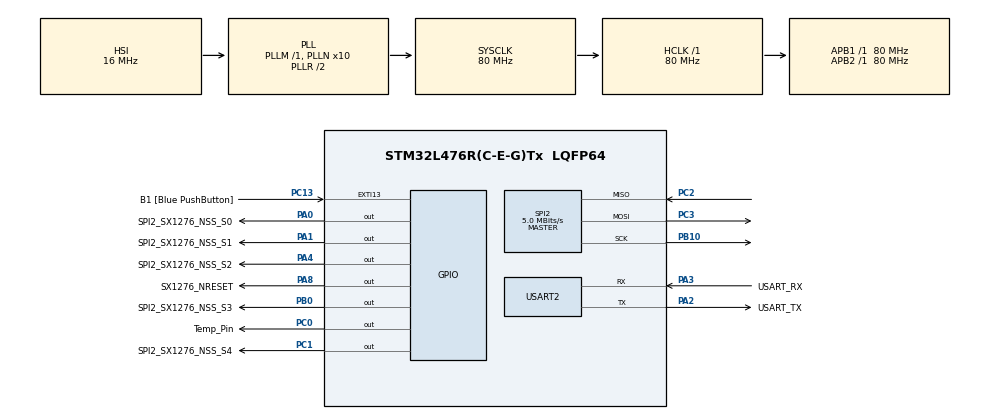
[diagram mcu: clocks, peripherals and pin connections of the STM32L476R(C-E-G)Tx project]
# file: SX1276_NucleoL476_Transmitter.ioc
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Mcu.Family=STM32L4
Mcu.Name=STM32L476R(C-E-G)Tx
Mcu.Package=LQFP64
NVIC.EXTI15_10_IRQn=true\:0\:0\:false\:false\:true\:true\:true\:true
NVIC.PriorityGroup=NVIC_PRIORITYGROUP_4
NVIC.RTC_WKUP_IRQn=true\:0\:0\:false\:false\:true\:true\:true\:true
PA0.GPIO_Label=SPI2_SX1276_NSS_S0
PA0.PinState=GPIO_PIN_SET
PA0.Signal=GPIO_Output
PA1.GPIO_Label=SPI2_SX1276_NSS_S1
PA1.Signal=GPIO_Output
PA13\ (JTMS-SWDIO).GPIO_Label=TMS
PA13\ (JTMS-SWDIO).Mode=Trace_Asynchronous_SW
PA13\ (JTMS-SWDIO).Signal=SYS_JTMS-SWDIO
PA14\ (JTCK-SWCLK).GPIO_Label=TCK
PA14\ (JTCK-SWCLK).Mode=Trace_Asynchronous_SW
PA14\ (JTCK-SWCLK).Signal=SYS_JTCK-SWCLK
PA2.GPIO_Label=USART_TX
PA2.GPIO_Mode=GPIO_MODE_AF_PP
PA2.GPIO_PuPd=GPIO_NOPULL
PA2.GPIO_Speed=GPIO_SPEED_FREQ_VERY_HIGH
PA2.Mode=Asynchronous
PA2.Signal=USART2_TX
PA3.GPIO_Label=USART_RX
PA3.GPIO_Mode=GPIO_MODE_AF_PP
PA3.GPIO_PuPd=GPIO_NOPULL
PA3.GPIO_Speed=GPIO_SPEED_FREQ_VERY_HIGH
PA3.Mode=Asynchronous
PA3.Signal=USART2_RX
PA4.GPIO_Label=SPI2_SX1276_NSS_S2
PA4.Signal=GPIO_Output
PA8.GPIO_Label=SX1276_NRESET
PA8.GPIO_ModeDefaultOutputPP=GPIO_MODE_OUTPUT_OD
PA8.GPIO_PuPd=GPIO_NOPULL
PA8.PinState=GPIO_PIN_SET
PA8.Signal=GPIO_Output
PB0.GPIO_Label=SPI2_SX1276_NSS_S3
PB0.Signal=GPIO_Output
PB10.Mode=Full_Duplex_Master
PB10.Signal=SPI2_SCK
PB3\ (JTDO-TRACESWO).GPIO_Label=SWO
PB3\ (JTDO-TRACESWO).Mode=Trace_Asynchronous_SW
PB3\ (JTDO-TRACESWO).Signal=SYS_JTDO-SWO
PC0.GPIO_Label=Temp_Pin
PC0.Signal=GPIO_Output
PC1.GPIO_Label=SPI2_SX1276_NSS_S4
PC1.Signal=GPIO_Output
PC13.GPIO_Label=B1 [Blue PushButton]
PC13.GPIO_ModeDefaultEXTI=GPIO_MODE_IT_FALLING
PC13.GPIO_PuPd=GPIO_NOPULL
PC13.Signal=GPXTI13
PC14-OSC32_IN\ (PC14).Signal=RCC_OSC32_IN
PC15-OSC32_OUT\ (PC15).Signal=RCC_OSC32_OUT
PC2.GPIO_PuPd=GPIO_NOPULL
PC2.Mode=Full_Duplex_Master
PC2.Signal=SPI2_MISO
PC3.GPIO_PuPd=GPIO_NOPULL
PC3.Mode=Full_Duplex_Master
PC3.Signal=SPI2_MOSI
PH0-OSC_IN\ (PH0).Signal=RCC_OSC_IN
PH1-OSC_OUT\ (PH1).Signal=RCC_OSC_OUT
ProjectManager.HeapSize=0x200
ProjectManager.StackSize=0x400
ProjectManager.TargetToolchain=STM32CubeIDE
RCC.ADCFreq_Value=64000000
RCC.AHBFreq_Value=80000000
RCC.APB1Freq_Value=80000000
RCC.APB1TimFreq_Value=80000000
RCC.APB2Freq_Value=80000000
RCC.APB2TimFreq_Value=80000000
RCC.CortexFreq_Value=80000000
RCC.HCLKFreq_Value=80000000
RCC.HSE_VALUE=8000000
RCC.HSI_VALUE=16000000
RCC.LSE_VALUE=32768
RCC.MSIClockRange=RCC_MSIRANGE_11
RCC.MSI_VALUE=48000000
RCC.PLLN=10
RCC.PLLSourceVirtual=RCC_PLLSOURCE_HSI
RCC.PREFETCH_ENABLE=1
RCC.SYSCLKFreq_VALUE=80000000
RCC.SYSCLKSource=RCC_SYSCLKSOURCE_PLLCLK
RCC.USART2CLockSelection=RCC_USART2CLKSOURCE_HSI
RCC.USBFreq_Value=64000000
RCC.VCOOutputFreq_Value=160000000
RTC.WakeUpClock-WakeUp=RTC_WAKEUPCLOCK_RTCCLK_DIV16
RTC.WakeUpCounter-WakeUp=1
SPI2.BaudRatePrescaler=SPI_BAUDRATEPRESCALER_16
SPI2.CalculateBaudRate=5.0 MBits/s
SPI2.DataSize=SPI_DATASIZE_8BIT
SPI2.Direction=SPI_DIRECTION_2LINES
SPI2.Mode=SPI_MODE_MASTER
SPI2.VirtualType=VM_MASTER
TIM16.Prescaler=4000
USART2.VirtualMode-Asynchronous=VM_ASYNC
VP_RTC_VS_RTC_Activate.Mode=RTC_Enabled
VP_RTC_VS_RTC_WakeUp_intern.Mode=WakeUp
VP_TIM16_VS_ClockSourceINT.Mode=Enable_Timer
board=NUCLEO-L476RG

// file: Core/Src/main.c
/* USER CODE BEGIN Header */
/**
 ******************************************************************************
 * @file           : main.c
 * @brief          : Main program body
 ******************************************************************************
 * @attention
 *
 * Copyright (c) 2025 STMicroelectronics.
 * All rights reserved.
 *
 * This software is licensed under terms that can be found in the LICENSE file
 * in the root directory of this software component.
 * If no LICENSE file comes with this software, it is provided AS-IS.
 *
 ******************************************************************************
 */
/* USER CODE END Header */
#include "main.h"

/* USER CODE BEGIN Includes */
#include "string.h"
#include "stdio.h"
#include "stm32_SX1276_spi.h"
/* USER CODE END Includes */

/* USER CODE BEGIN PD */
# define NUMBER_OF_LORA_NODES			0x05
# define HOP_OVERHEAD_MS				0x06

/* USER CODE END PD */

RTC_HandleTypeDef hrtc;

SPI_HandleTypeDef hspi2;

TIM_HandleTypeDef htim16;

UART_HandleTypeDef huart2;

void SystemClock_Config(void);
static void MX_GPIO_Init(void);
static void MX_USART2_UART_Init(void);
static void MX_SPI2_Init(void);
static void MX_TIM16_Init(void);
static void MX_RTC_Init(void);

/* USER CODE BEGIN 0 */
uint32_t TIM16_PRESCALR=0;
/* USER CODE END 0 */

int main(void)
{

	/* USER CODE BEGIN 1 */
	uint8_t buff[1000]={0};
	/* USER CODE END 1 */

	/* MCU Configuration--------------------------------------------------------*/

	/* Reset of all peripherals, Initializes the Flash interface and the Systick. */
	HAL_Init();

	/* Configure the system clock */
	SystemClock_Config();

	/* Initialize all configured peripherals */
	MX_GPIO_Init();
	MX_USART2_UART_Init();
	MX_SPI2_Init();
	MX_TIM16_Init();
	MX_RTC_Init();
	/* USER CODE BEGIN 2 */

	SPI_SX1276_TypeDef test, test1, test2, test3, test4;
	SX1276_Init_Param init, init1, init2, init3, init4;

	if(NUMBER_OF_LORA_NODES >=1)
	{
		test.NSS_GPIOx = SPI2_SX1276_NSS_S0_GPIO_Port;
		test.NSS_GPIO_Pin = SPI2_SX1276_NSS_S0_Pin;
		test.hspi = &hspi2;
		test.hrtc_l = &hrtc;

		init.NRESET_GPIOx = SX1276_NRESET_GPIO_Port;
		init.NRESET_GPIO_Pin = SX1276_NRESET_Pin;
		init.SPI_SX1276 = test;
		init.hrtc_l = &hrtc;
	}

	if(NUMBER_OF_LORA_NODES >=2)
	{
		test1.NSS_GPIOx = SPI2_SX1276_NSS_S1_GPIO_Port;
		test1.NSS_GPIO_Pin = SPI2_SX1276_NSS_S1_Pin;
		test1.hspi = &hspi2;
		test1.hrtc_l = &hrtc;

		init1.NRESET_GPIOx = SX1276_NRESET_GPIO_Port;
		init1.NRESET_GPIO_Pin = SX1276_NRESET_Pin;
		init1.SPI_SX1276 = test1;
		init1.hrtc_l = &hrtc;
	}

	if(NUMBER_OF_LORA_NODES >=3)
	{
		test2.NSS_GPIOx = SPI2_SX1276_NSS_S2_GPIO_Port;
		test2.NSS_GPIO_Pin = SPI2_SX1276_NSS_S2_Pin;
		test2.hspi = &hspi2;
		test2.hrtc_l = &hrtc;

		init2.NRESET_GPIOx = SX1276_NRESET_GPIO_Port;
		init2.NRESET_GPIO_Pin = SX1276_NRESET_Pin;
		init2.SPI_SX1276 = test2;
		init2.hrtc_l = &hrtc;
	}

	if(NUMBER_OF_LORA_NODES >=4)
	{
		test3.NSS_GPIOx = SPI2_SX1276_NSS_S3_GPIO_Port;
		test3.NSS_GPIO_Pin = SPI2_SX1276_NSS_S3_Pin;
		test3.hspi = &hspi2;
		test3.hrtc_l = &hrtc;

		init3.NRESET_GPIOx = SX1276_NRESET_GPIO_Port;
		init3.NRESET_GPIO_Pin = SX1276_NRESET_Pin;
		init3.SPI_SX1276 = test3;
		init3.hrtc_l = &hrtc;
	}

	if(NUMBER_OF_LORA_NODES >=5)
	{
		test4.NSS_GPIOx = SPI2_SX1276_NSS_S4_GPIO_Port;
		test4.NSS_GPIO_Pin = SPI2_SX1276_NSS_S4_Pin;
		test4.hspi = &hspi2;
		test4.hrtc_l = &hrtc;

		init4.NRESET_GPIOx = SX1276_NRESET_GPIO_Port;
		init4.NRESET_GPIO_Pin = SX1276_NRESET_Pin;
		init4.SPI_SX1276 = test4;
		init4.hrtc_l = &hrtc;
	}

	//---------------------------------------------
	SX1276_CommParam CommParam;
	CommParam.Bandwidth = SX1276_LoRa_REG_MODEM_CONFIG1_BW_125_kHz;
	CommParam.CodingRate= SX1276_LoRa_REG_MODEM_CONFIG1_CR_4_5;
	CommParam.Spreadfactor = SX1276_LoRa_REG_MODEM_CONFIG2_SF7;
	CommParam.PreambleLength = 8;

	sprintf((char *)buff, "SX1276 Init \r\n");
	HAL_UART_Transmit(&huart2, buff, sizeof(buff), 100);

	uint8_t buffLoRa[255]={0};
	uint8_t buffLoRaR[255]={0};
	sprintf((char *)buffLoRa, " 0000000000111111111122222222223333333333444444444455555555556666666666777777777788888888889999999999.0000000000111111111122222222223333333333444444444455555555556666666666777777777788888888889999999999.abcdefghijklmnopqabcdefghijklmnopq");
	buffLoRa[0] = 0;
	uint8_t count=0;

	uint8_t PacketSize_bytes=240;
	uint8_t PacketSize_bytesR=0;

	buffLoRa[1] = count;

	uint8_t AvailableLoRaNodes=0xFF;

	uint32_t ToA_Delay_ms = ComputeToA(CommParam, PacketSize_bytes);

	/****************************************************
	 * Init Code
	 ****************************************************/
	// Node 0-----------------------------------------------------
	if(NUMBER_OF_LORA_NODES >=1)
	{
		if(SX1276_Init(init)!=SX1276_OK)
		{
			AvailableLoRaNodes &= 0b11111110;
			sprintf((char *)buff, "SX1276 Init 0: FAIL \r\n");
			HAL_UART_Transmit(&huart2, buff, sizeof(buff), 100);
		}
		else
		{
			sprintf((char *)buff, "SX1276 Init 0: OK \r\n");
			HAL_UART_Transmit(&huart2, buff, sizeof(buff), 100);
		}

	}

	// Node 1-----------------------------------------------------
	if(NUMBER_OF_LORA_NODES >=2)
	{
		if(SX1276_Init(init1)!=SX1276_OK)
		{
			AvailableLoRaNodes &= 0b11111101;
			sprintf((char *)buff, "SX1276 Init 1: FAIL \r\n");
			HAL_UART_Transmit(&huart2, buff, sizeof(buff), 100);
		}
		else
		{
			sprintf((char *)buff, "SX1276 Init 1: OK \r\n");
			HAL_UART_Transmit(&huart2, buff, sizeof(buff), 100);
		}

	}

	// Node 2-----------------------------------------------------
	if(NUMBER_OF_LORA_NODES >=3)
	{
		if(SX1276_Init(init2)!=SX1276_OK)
		{
			AvailableLoRaNodes &= 0b11111011;
			sprintf((char *)buff, "SX1276 Init 2: FAIL \r\n");
			HAL_UART_Transmit(&huart2, buff, sizeof(buff), 100);
		}
		else
		{
			sprintf((char *)buff, "SX1276 Init 2: OK \r\n");
			HAL_UART_Transmit(&huart2, buff, sizeof(buff), 100);
		}

	}

	// Node 3-----------------------------------------------------
	if(NUMBER_OF_LORA_NODES >=4)
	{
		if(SX1276_Init(init3)!=SX1276_OK)
		{
			AvailableLoRaNodes &= 0b11110111;
			sprintf((char *)buff, "SX1276 Init 3: FAIL \r\n");
			HAL_UART_Transmit(&huart2, buff, sizeof(buff), 100);
		}
		else
		{
			sprintf((char *)buff, "SX1276 Init 3: OK \r\n");
			HAL_UART_Transmit(&huart2, buff, sizeof(buff), 100);
		}

	}

	// Node 4-----------------------------------------------------
	if(NUMBER_OF_LORA_NODES >=5)
	{
		if(SX1276_Init(init4)!=SX1276_OK)
		{
			AvailableLoRaNodes &= 0b11101111;
			sprintf((char *)buff, "SX1276 Init 4: FAIL \r\n");
			HAL_UART_Transmit(&huart2, buff, sizeof(buff), 100);
		}
		else
		{
			sprintf((char *)buff, "SX1276 Init 4: OK \r\n");
			HAL_UART_Transmit(&huart2, buff, sizeof(buff), 100);
		}

	}

	HAL_GPIO_WritePin(SX1276_NRESET_GPIO_Port, SX1276_NRESET_Pin, GPIO_PIN_RESET);
	HAL_Delay(100);
	HAL_GPIO_WritePin(SX1276_NRESET_GPIO_Port, SX1276_NRESET_Pin, GPIO_PIN_SET);
	HAL_Delay(100);

	/****************************************************
	 * Dummy Transmit
	 ***************************************************/

	// Check Number of LoRa Nodes set and if the node is available
	if( (NUMBER_OF_LORA_NODES >=1) && (AvailableLoRaNodes && 0b00000001) )
	{
		sprintf((char *)buff, "SX1276 Dummy Node 0 Transmit : %u\r\n", SX1276_Transmit(test, buffLoRa, PacketSize_bytes, 906000, SX1276_LoRa_PA_CONFIG_OP_POWER_dBm_17, NORMAL_MODE_MCU_STOP_MODE, CommParam));
		HAL_UART_Transmit(&huart2, buff, sizeof(buff), 100);
	}

	if( (NUMBER_OF_LORA_NODES >=2) && ((AvailableLoRaNodes>>1) && 0b00000001) )
	{
		sprintf((char *)buff, "SX1276 Dummy Node 1 Transmit : %u\r\n", SX1276_Transmit(test1, buffLoRa, PacketSize_bytes, 906000, SX1276_LoRa_PA_CONFIG_OP_POWER_dBm_17, NORMAL_MODE_MCU_STOP_MODE, CommParam));
		HAL_UART_Transmit(&huart2, buff, sizeof(buff), 100);
	}

	if( (NUMBER_OF_LORA_NODES >=3) && ((AvailableLoRaNodes>>2) && 0b00000001) )
	{
		sprintf((char *)buff, "SX1276 Dummy Node 2 Transmit : %u\r\n", SX1276_Transmit(test2, buffLoRa, PacketSize_bytes, 906000, SX1276_LoRa_PA_CONFIG_OP_POWER_dBm_17, NORMAL_MODE_MCU_STOP_MODE, CommParam));
		HAL_UART_Transmit(&huart2, buff, sizeof(buff), 100);
	}

	if( (NUMBER_OF_LORA_NODES >=4) && ((AvailableLoRaNodes>>3) && 0b00000001) )
	{
		sprintf((char *)buff, "SX1276 Dummy Node 3 Transmit : %u\r\n", SX1276_Transmit(test3, buffLoRa, PacketSize_bytes, 906000, SX1276_LoRa_PA_CONFIG_OP_POWER_dBm_17, NORMAL_MODE_MCU_STOP_MODE, CommParam));
		HAL_UART_Transmit(&huart2, buff, sizeof(buff), 100);
	}

	if( (NUMBER_OF_LORA_NODES >=5) && ((AvailableLoRaNodes>>4) && 0b00000001) )
	{
		sprintf((char *)buff, "SX1276 Dummy Node 4 Transmit : %u\r\n", SX1276_Transmit(test4, buffLoRa, PacketSize_bytes, 906000, SX1276_LoRa_PA_CONFIG_OP_POWER_dBm_17, NORMAL_MODE_MCU_STOP_MODE, CommParam));
		HAL_UART_Transmit(&huart2, buff, sizeof(buff), 100);
	}

	/*****************************************************************************************************
	 * Run Sync Schedule
	 * 	-	Set seperately from dummy code so that the dummy code can commented out easily.
	 *	-	The node availability check logic shall be the same.
	 *****************************************************************************************************/

	uint32_t LoRaFrequnecy_KHz = 915000;
	float RxConfigTime=0;
	float ReceivePropDelayTime=0;

	float RxConfigTimeTotal=0;
	float ReceivePropDelayTimeTotal=0;		// this includes  ConfigTxTime (~1ms) + 100 ms + Buffer read  (~1 ms)

	if( (NUMBER_OF_LORA_NODES >=1) && (AvailableLoRaNodes & 0b00000001) )
	{

		if(SX1276_Transmitter_RunSyncSchedule(test, buffLoRa, buffLoRaR, PacketSize_bytes, &PacketSize_bytesR, LoRaFrequnecy_KHz, SX1276_LoRa_PA_CONFIG_OP_POWER_dBm_17, &RxConfigTime, &ReceivePropDelayTime, CommParam, &htim16, TIM16_PRESCALR)!=SX1276_OK)
		{
			strcpy((char *)buff, "Run Sync Node 0; 1; failed");
			HAL_UART_Transmit(&huart2, buff, sizeof(buff), 100);
		}

		RxConfigTimeTotal 			+= RxConfigTime;
		ReceivePropDelayTimeTotal	+= ReceivePropDelayTime;

		RxConfigTime				=	0;
		ReceivePropDelayTime		=	0;

		if(SX1276_Transmitter_RunSyncSchedule(test, buffLoRa, buffLoRaR, PacketSize_bytes, &PacketSize_bytesR, LoRaFrequnecy_KHz, SX1276_LoRa_PA_CONFIG_OP_POWER_dBm_17, &RxConfigTime, &ReceivePropDelayTime, CommParam, &htim16, TIM16_PRESCALR)!=SX1276_OK)
		{
			strcpy((char *)buff, "Run Sync Node 0; 2; failed");
			HAL_UART_Transmit(&huart2, buff, sizeof(buff), 100);
		}

		RxConfigTimeTotal 			+= RxConfigTime;
		ReceivePropDelayTimeTotal	+= ReceivePropDelayTime;

		RxConfigTime				=	0;
		ReceivePropDelayTime		=	0;

		if(SX1276_Transmitter_RunSyncSchedule(test, buffLoRa, buffLoRaR, PacketSize_bytes, &PacketSize_bytesR, LoRaFrequnecy_KHz, SX1276_LoRa_PA_CONFIG_OP_POWER_dBm_17, &RxConfigTime, &ReceivePropDelayTime, CommParam, &htim16, TIM16_PRESCALR)!=SX1276_OK)
		{
			strcpy((char *)buff, "Run Sync Node 0; 3; failed");
			HAL_UART_Transmit(&huart2, buff, sizeof(buff), 100);
		}

		RxConfigTimeTotal 			+= RxConfigTime;
		ReceivePropDelayTimeTotal	+= ReceivePropDelayTime;

		RxConfigTime				=	0;
		ReceivePropDelayTime		=	0;

		if(SX1276_Transmitter_RunSyncSchedule(test, buffLoRa, buffLoRaR, PacketSize_bytes, &PacketSize_bytesR, LoRaFrequnecy_KHz, SX1276_LoRa_PA_CONFIG_OP_POWER_dBm_17, &RxConfigTime, &ReceivePropDelayTime, CommParam, &htim16, TIM16_PRESCALR)!=SX1276_OK)
		{
			strcpy((char *)buff, "Run Sync Node 0; 4; failed");
			HAL_UART_Transmit(&huart2, buff, sizeof(buff), 100);
		}

		RxConfigTimeTotal 			+= RxConfigTime;
		ReceivePropDelayTimeTotal	+= ReceivePropDelayTime;

		RxConfigTime				=	0;
		ReceivePropDelayTime		=	0;

		RxConfigTimeTotal			= RxConfigTimeTotal/4;
		ReceivePropDelayTimeTotal	= ReceivePropDelayTimeTotal/4;

		if(((uint32_t)RxConfigTimeTotal)<RxConfigTimeTotal)
		{
			RxConfigTimeTotal++;
		}

		if(((uint32_t)ReceivePropDelayTimeTotal)<ReceivePropDelayTimeTotal)
		{
			ReceivePropDelayTimeTotal++;
		}

		ReceivePropDelayTimeTotal = ReceivePropDelayTimeTotal -102 - ToA_Delay_ms;

		sprintf((char *)buff, "SX1276 Node 0 Sync Schedule RxConfigTime, ReceivePropDelayTime: %f, %f\r\n", RxConfigTimeTotal, ReceivePropDelayTimeTotal);
		HAL_UART_Transmit(&huart2, buff, sizeof(buff), 100);
	}

	uint32_t  HoppFrequencyMultiplier = 250;	//relates to displacement of signal in Hz; Shall be fixed on the basis of bandwidth and spread factor
	uint8_t Status = 0;

	uint32_t NumberOfHopps = 117;
	uint32_t FirstFrequencies[NumberOfHopps] = {};

	FirstFrequencies[0] = 902500;

	for (uint32_t counter = 1; counter<NumberOfHopps-1; counter=counter+2)
	{
		if( (counter>1) && ((FirstFrequencies[counter-1] + (HoppFrequencyMultiplier*NUMBER_OF_LORA_NODES))>= 928000))
		{
			// The next freq is out of ISM band, USA => 902 to 928MHz; wrap freq
			FirstFrequencies[counter] = FirstFrequencies[0];
			counter++;
		}
		FirstFrequencies[counter] = FirstFrequencies[counter-1] + HoppFrequencyMultiplier/2;
		FirstFrequencies[counter+1] = FirstFrequencies[counter-1] + (HoppFrequencyMultiplier*NUMBER_OF_LORA_NODES);
	}

	uint32_t temp=0;
	for (uint32_t counter = 0; counter<NumberOfHopps; counter++)
	{

		if((counter>0) && (FirstFrequencies[counter]==FirstFrequencies[0]))
		{
		    // How long ago did we use the FirstFrequencies[0]
		    if (temp == 0)
		    {
		        temp = counter;
		    }

		    if ((temp * (ToA_Delay_ms + HOP_OVERHEAD_MS)) < 20000)
		    {
		        // Put MCU to Sleep until FCC dwell-time requirement is met
		        MCU_STOP_Delay_ms(20000 - (temp * (ToA_Delay_ms + HOP_OVERHEAD_MS)), &hrtc);
		    }

		}

		/**************************************************
		 * Wait for RxConfigTime
		 **************************************************/
		MCU_STOP_Delay_ms(RxConfigTimeTotal * NUMBER_OF_LORA_NODES, &hrtc);

		/***************************************************************************************************
		 * Set Transmit Config
		 *	-	Set seperately from dummy code so that the dummy code can commented out easily.
		 *	-	Setup config for all nodes.
		 *	-	The node availability check logic shall be the same.
		 ***************************************************************************************************
		 */

		if( (NUMBER_OF_LORA_NODES >=1) && (AvailableLoRaNodes & 0b00000001) )
		{
			Status = SX1276_Multi_Transmitter_SetConfiguration(test, buffLoRa, PacketSize_bytes, FirstFrequencies[counter]+HoppFrequencyMultiplier*0, SX1276_LoRa_PA_CONFIG_OP_POWER_dBm_17, CommParam);
		}

		if( (NUMBER_OF_LORA_NODES >=2) && ((AvailableLoRaNodes>>1) & 0b00000001) )
		{
			Status = SX1276_Multi_Transmitter_SetConfiguration(test1, buffLoRa, PacketSize_bytes, FirstFrequencies[counter]+HoppFrequencyMultiplier*1, SX1276_LoRa_PA_CONFIG_OP_POWER_dBm_17, CommParam);
		}

		if( (NUMBER_OF_LORA_NODES >=3) && ((AvailableLoRaNodes>>2) & 0b00000001) )
		{
			Status = SX1276_Multi_Transmitter_SetConfiguration(test2, buffLoRa, PacketSize_bytes, FirstFrequencies[counter]+HoppFrequencyMultiplier*2, SX1276_LoRa_PA_CONFIG_OP_POWER_dBm_17, CommParam);
		}

		if( (NUMBER_OF_LORA_NODES >=4) && ((AvailableLoRaNodes>>3) & 0b00000001) )
		{
			Status = SX1276_Multi_Transmitter_SetConfiguration(test3, buffLoRa, PacketSize_bytes, FirstFrequencies[counter]+HoppFrequencyMultiplier*3, SX1276_LoRa_PA_CONFIG_OP_POWER_dBm_17, CommParam);
		}

		if( (NUMBER_OF_LORA_NODES >=5) && ((AvailableLoRaNodes>>4) & 0b00000001) )
		{
			Status = SX1276_Multi_Transmitter_SetConfiguration(test4, buffLoRa, PacketSize_bytes, FirstFrequencies[counter]+HoppFrequencyMultiplier*4, SX1276_LoRa_PA_CONFIG_OP_POWER_dBm_17, CommParam);
		}

		/***************************************************************************************************
		 * Transmit
		 *	-	Set OP mode for all Nodes
		 *	-	Put MCU to STOP2 mode for ToA time
		 *	-	Clear TxDone IRQ flag for all Nodes
		 *	-	Set all Nodes to sleep
		 ***************************************************************************************************/
		if( (NUMBER_OF_LORA_NODES >=1) && (AvailableLoRaNodes & 0b00000001) )
		{
			Status = SX1276_SetOperationMode(test, SX1276_LoRa_REG_OP_MODE_TX);
		}

		if( (NUMBER_OF_LORA_NODES >=2) && ((AvailableLoRaNodes>>1) & 0b00000001) )
		{
			Status = SX1276_SetOperationMode(test1, SX1276_LoRa_REG_OP_MODE_TX);
		}

		if( (NUMBER_OF_LORA_NODES >=3) && ((AvailableLoRaNodes>>2) & 0b00000001) )
		{
			Status = SX1276_SetOperationMode(test2, SX1276_LoRa_REG_OP_MODE_TX);
		}

		if( (NUMBER_OF_LORA_NODES >=4) && ((AvailableLoRaNodes>>3) & 0b00000001) )
		{
			Status = SX1276_SetOperationMode(test3, SX1276_LoRa_REG_OP_MODE_TX);;
		}

		if( (NUMBER_OF_LORA_NODES >=5) && ((AvailableLoRaNodes>>4) & 0b00000001) )
		{
			Status = SX1276_SetOperationMode(test4, SX1276_LoRa_REG_OP_MODE_TX);
		}

		MCU_STOP_Delay_ms(ToA_Delay_ms, &hrtc);

		if( (NUMBER_OF_LORA_NODES >=1) && (AvailableLoRaNodes & 0b00000001) )
		{
			Status = SX1276_ClearIRQFlags(test, TxDone);
			Status = SX1276_SetOperationMode(test, SX1276_LoRa_REG_OP_MODE_SLEEP);
		}

		if( (NUMBER_OF_LORA_NODES >=2) && ((AvailableLoRaNodes>>1) & 0b00000001) )
		{
			Status = SX1276_ClearIRQFlags(test1, TxDone);
			Status = SX1276_SetOperationMode(test1, SX1276_LoRa_REG_OP_MODE_SLEEP);
		}

		if( (NUMBER_OF_LORA_NODES >=3) && ((AvailableLoRaNodes>>2) & 0b00000001) )
		{
			Status = SX1276_ClearIRQFlags(test2, TxDone);
			Status = SX1276_SetOperationMode(test2, SX1276_LoRa_REG_OP_MODE_SLEEP);
		}

		if( (NUMBER_OF_LORA_NODES >=4) && ((AvailableLoRaNodes>>3) & 0b00000001) )
		{
			Status = SX1276_ClearIRQFlags(test3, TxDone);
			Status = SX1276_SetOperationMode(test3, SX1276_LoRa_REG_OP_MODE_SLEEP);
		}

		if( (NUMBER_OF_LORA_NODES >=5) && ((AvailableLoRaNodes>>4) & 0b00000001) )
		{
			Status = SX1276_ClearIRQFlags(test4, TxDone);
			Status = SX1276_SetOperationMode(test4, SX1276_LoRa_REG_OP_MODE_SLEEP);
		}

		/**************************************************
		 * Wait for ReceivePropDelayTime
		 **************************************************/
		if(ReceivePropDelayTimeTotal!=0)
		{
			MCU_STOP_Delay_ms(ReceivePropDelayTimeTotal, &hrtc);
		}

	}
//
//	//Hopp-------------------------------------------------------------------------------
//	/**************************************************
//	 * Wait for RxConfigTime
//	 **************************************************/
//	HAL_Delay(RxConfigTimeTotal * NUMBER_OF_LORA_NODES);
//
//
//	LoRaFrequnecy_KHz = 905125;
//
//	if( (NUMBER_OF_LORA_NODES >=1) && (AvailableLoRaNodes && 0b00000001) )
//	{
//		Status = SX1276_Multi_Transmitter_SetConfiguration(test, buffLoRa, PacketSize_bytes, LoRaFrequnecy_KHz+HoppFrequencyMultiplier*0, SX1276_LoRa_PA_CONFIG_OP_POWER_dBm_17, CommParam);
//	}
//
//	if( (NUMBER_OF_LORA_NODES >=2) && ((AvailableLoRaNodes>>1) && 0b00000001) )
//	{
//		Status = SX1276_Multi_Transmitter_SetConfiguration(test1, buffLoRa, PacketSize_bytes, LoRaFrequnecy_KHz+HoppFrequencyMultiplier*1, SX1276_LoRa_PA_CONFIG_OP_POWER_dBm_17, CommParam);
//	}
//
//	if( (NUMBER_OF_LORA_NODES >=3) && ((AvailableLoRaNodes>>2) && 0b00000001) )
//	{
//		Status = SX1276_Multi_Transmitter_SetConfiguration(test2, buffLoRa, PacketSize_bytes, LoRaFrequnecy_KHz+HoppFrequencyMultiplier*2, SX1276_LoRa_PA_CONFIG_OP_POWER_dBm_17, CommParam);
//	}
//
//	if( (NUMBER_OF_LORA_NODES >=4) && ((AvailableLoRaNodes>>3) && 0b00000001) )
//	{
//		Status = SX1276_Multi_Transmitter_SetConfiguration(test3, buffLoRa, PacketSize_bytes, LoRaFrequnecy_KHz+HoppFrequencyMultiplier*3, SX1276_LoRa_PA_CONFIG_OP_POWER_dBm_17, CommParam);
//	}
//
//	if( (NUMBER_OF_LORA_NODES >=5) && ((AvailableLoRaNodes>>4) && 0b00000001) )
//	{
//		Status = SX1276_Multi_Transmitter_SetConfiguration(test4, buffLoRa, PacketSize_bytes, LoRaFrequnecy_KHz+HoppFrequencyMultiplier*4, SX1276_LoRa_PA_CONFIG_OP_POWER_dBm_17, CommParam);
//	}
//
//	/***************************************************************************************************
//	 * Transmit
//	 *	-	Set OP mode for all Nodes
//	 *	-	Put MCU to STOP2 mode for ToA time
//	 *	-	Clear TxDone IRQ flag for all Nodes
//	 *	-	Set all Nodes to sleep
//	 ***************************************************************************************************/
//	if( (NUMBER_OF_LORA_NODES >=1) && (AvailableLoRaNodes && 0b00000001) )
//	{
//		Status = SX1276_SetOperationMode(test, SX1276_LoRa_REG_OP_MODE_TX);
//	}
//
//	if( (NUMBER_OF_LORA_NODES >=2) && ((AvailableLoRaNodes>>1) && 0b00000001) )
//	{
//		Status = SX1276_SetOperationMode(test1, SX1276_LoRa_REG_OP_MODE_TX);
//	}
//
//	if( (NUMBER_OF_LORA_NODES >=3) && ((AvailableLoRaNodes>>2) && 0b00000001) )
//	{
//		Status = SX1276_SetOperationMode(test2, SX1276_LoRa_REG_OP_MODE_TX);
//	}
//
//	if( (NUMBER_OF_LORA_NODES >=4) && ((AvailableLoRaNodes>>3) && 0b00000001) )
//	{
//		Status = SX1276_SetOperationMode(test3, SX1276_LoRa_REG_OP_MODE_TX);;
//	}
//
//	if( (NUMBER_OF_LORA_NODES >=5) && ((AvailableLoRaNodes>>4) && 0b00000001) )
//	{
//		Status = SX1276_SetOperationMode(test4, SX1276_LoRa_REG_OP_MODE_TX);
//	}
//
//	MCU_STOP_Delay_ms(ToA_Delay_ms, &hrtc);
//
//	if( (NUMBER_OF_LORA_NODES >=1) && (AvailableLoRaNodes && 0b00000001) )
//	{
//		Status = SX1276_ClearIRQFlags(test, TxDone);
//		Status = SX1276_SetOperationMode(test, SX1276_LoRa_REG_OP_MODE_SLEEP);
//	}
//
//	if( (NUMBER_OF_LORA_NODES >=2) && ((AvailableLoRaNodes>>1) && 0b00000001) )
//	{
//		Status = SX1276_ClearIRQFlags(test1, TxDone);
//		Status = SX1276_SetOperationMode(test1, SX1276_LoRa_REG_OP_MODE_SLEEP);
//	}
//
//	if( (NUMBER_OF_LORA_NODES >=3) && ((AvailableLoRaNodes>>2) && 0b00000001) )
//	{
//		Status = SX1276_ClearIRQFlags(test2, TxDone);
//		Status = SX1276_SetOperationMode(test2, SX1276_LoRa_REG_OP_MODE_SLEEP);
//	}
//
//	if( (NUMBER_OF_LORA_NODES >=4) && ((AvailableLoRaNodes>>3) && 0b00000001) )
//	{
//		Status = SX1276_ClearIRQFlags(test3, TxDone);
//		Status = SX1276_SetOperationMode(test3, SX1276_LoRa_REG_OP_MODE_SLEEP);
//	}
//
//	if( (NUMBER_OF_LORA_NODES >=5) && ((AvailableLoRaNodes>>4) && 0b00000001) )
//	{
//		Status = SX1276_ClearIRQFlags(test4, TxDone);
//		Status = SX1276_SetOperationMode(test4, SX1276_LoRa_REG_OP_MODE_SLEEP);
//	}
//
//	/**************************************************
//	 * Wait for ReceivePropDelayTime
//	 **************************************************/
//	if(ReceivePropDelayTimeTotal!=0)
//	{
//		HAL_Delay(ReceivePropDelayTimeTotal);
//	}
//
//	//Hopp-------------------------------------------------------------------------------
//	/**************************************************
//	 * Wait for RxConfigTime
//	 **************************************************/
//	HAL_Delay(RxConfigTimeTotal * NUMBER_OF_LORA_NODES);
//
//
//	LoRaFrequnecy_KHz = 906250;
//
//	if( (NUMBER_OF_LORA_NODES >=1) && (AvailableLoRaNodes && 0b00000001) )
//	{
//		Status = SX1276_Multi_Transmitter_SetConfiguration(test, buffLoRa, PacketSize_bytes, LoRaFrequnecy_KHz+HoppFrequencyMultiplier*0, SX1276_LoRa_PA_CONFIG_OP_POWER_dBm_17, CommParam);
//	}
//
//	if( (NUMBER_OF_LORA_NODES >=2) && ((AvailableLoRaNodes>>1) && 0b00000001) )
//	{
//		Status = SX1276_Multi_Transmitter_SetConfiguration(test1, buffLoRa, PacketSize_bytes, LoRaFrequnecy_KHz+HoppFrequencyMultiplier*1, SX1276_LoRa_PA_CONFIG_OP_POWER_dBm_17, CommParam);
//	}
//
//	if( (NUMBER_OF_LORA_NODES >=3) && ((AvailableLoRaNodes>>2) && 0b00000001) )
//	{
//		Status = SX1276_Multi_Transmitter_SetConfiguration(test2, buffLoRa, PacketSize_bytes, LoRaFrequnecy_KHz+HoppFrequencyMultiplier*2, SX1276_LoRa_PA_CONFIG_OP_POWER_dBm_17, CommParam);
//	}
//
//	if( (NUMBER_OF_LORA_NODES >=4) && ((AvailableLoRaNodes>>3) && 0b00000001) )
//	{
//		Status = SX1276_Multi_Transmitter_SetConfiguration(test3, buffLoRa, PacketSize_bytes, LoRaFrequnecy_KHz+HoppFrequencyMultiplier*3, SX1276_LoRa_PA_CONFIG_OP_POWER_dBm_17, CommParam);
//	}
//
//	if( (NUMBER_OF_LORA_NODES >=5) && ((AvailableLoRaNodes>>4) && 0b00000001) )
//	{
//		Status = SX1276_Multi_Transmitter_SetConfiguration(test4, buffLoRa, PacketSize_bytes, LoRaFrequnecy_KHz+HoppFrequencyMultiplier*4, SX1276_LoRa_PA_CONFIG_OP_POWER_dBm_17, CommParam);
//	}
//
//	/***************************************************************************************************
//	 * Transmit
//	 *	-	Set OP mode for all Nodes
//	 *	-	Put MCU to STOP2 mode for ToA time
//	 *	-	Clear TxDone IRQ flag for all Nodes
//	 *	-	Set all Nodes to sleep
//	 ***************************************************************************************************/
//	if( (NUMBER_OF_LORA_NODES >=1) && (AvailableLoRaNodes && 0b00000001) )
//	{
//		Status = SX1276_SetOperationMode(test, SX1276_LoRa_REG_OP_MODE_TX);
//	}
//
//	if( (NUMBER_OF_LORA_NODES >=2) && ((AvailableLoRaNodes>>1) && 0b00000001) )
//	{
//		Status = SX1276_SetOperationMode(test1, SX1276_LoRa_REG_OP_MODE_TX);
//	}
//
//	if( (NUMBER_OF_LORA_NODES >=3) && ((AvailableLoRaNodes>>2) && 0b00000001) )
//	{
//		Status = SX1276_SetOperationMode(test2, SX1276_LoRa_REG_OP_MODE_TX);
//	}
//
//	if( (NUMBER_OF_LORA_NODES >=4) && ((AvailableLoRaNodes>>3) && 0b00000001) )
//	{
//		Status = SX1276_SetOperationMode(test3, SX1276_LoRa_REG_OP_MODE_TX);;
//	}
//
//	if( (NUMBER_OF_LORA_NODES >=5) && ((AvailableLoRaNodes>>4) && 0b00000001) )
//	{
//		Status = SX1276_SetOperationMode(test4, SX1276_LoRa_REG_OP_MODE_TX);
//	}
//
//	MCU_STOP_Delay_ms(ToA_Delay_ms, &hrtc);
//
//	if( (NUMBER_OF_LORA_NODES >=1) && (AvailableLoRaNodes && 0b00000001) )
//	{
//		Status = SX1276_ClearIRQFlags(test, TxDone);
//		Status = SX1276_SetOperationMode(test, SX1276_LoRa_REG_OP_MODE_SLEEP);
//	}
//
//	if( (NUMBER_OF_LORA_NODES >=2) && ((AvailableLoRaNodes>>1) && 0b00000001) )
//	{
//		Status = SX1276_ClearIRQFlags(test1, TxDone);
//		Status = SX1276_SetOperationMode(test1, SX1276_LoRa_REG_OP_MODE_SLEEP);
//	}
//
//	if( (NUMBER_OF_LORA_NODES >=3) && ((AvailableLoRaNodes>>2) && 0b00000001) )
//	{
//		Status = SX1276_ClearIRQFlags(test2, TxDone);
//		Status = SX1276_SetOperationMode(test2, SX1276_LoRa_REG_OP_MODE_SLEEP);
//	}
//
//	if( (NUMBER_OF_LORA_NODES >=4) && ((AvailableLoRaNodes>>3) && 0b00000001) )
//	{
//		Status = SX1276_ClearIRQFlags(test3, TxDone);
//		Status = SX1276_SetOperationMode(test3, SX1276_LoRa_REG_OP_MODE_SLEEP);
//	}
//
//	if( (NUMBER_OF_LORA_NODES >=5) && ((AvailableLoRaNodes>>4) && 0b00000001) )
//	{
//		Status = SX1276_ClearIRQFlags(test4, TxDone);
//		Status = SX1276_SetOperationMode(test4, SX1276_LoRa_REG_OP_MODE_SLEEP);
//	}
//
//	/**************************************************
//	 * Wait for ReceivePropDelayTime
//	 **************************************************/
//	if(ReceivePropDelayTimeTotal!=0)
//	{
//		HAL_Delay(ReceivePropDelayTimeTotal);
//	}
//
//	//Hopp-------------------------------------------------------------------------------
//	/**************************************************
//	 * Wait for RxConfigTime
//	 **************************************************/
//	HAL_Delay(RxConfigTimeTotal * NUMBER_OF_LORA_NODES);
//
//
//	LoRaFrequnecy_KHz = 906375;
//
//	if( (NUMBER_OF_LORA_NODES >=1) && (AvailableLoRaNodes && 0b00000001) )
//	{
//		Status = SX1276_Multi_Transmitter_SetConfiguration(test, buffLoRa, PacketSize_bytes, LoRaFrequnecy_KHz+HoppFrequencyMultiplier*0, SX1276_LoRa_PA_CONFIG_OP_POWER_dBm_17, CommParam);
//	}
//
//	if( (NUMBER_OF_LORA_NODES >=2) && ((AvailableLoRaNodes>>1) && 0b00000001) )
//	{
//		Status = SX1276_Multi_Transmitter_SetConfiguration(test1, buffLoRa, PacketSize_bytes, LoRaFrequnecy_KHz+HoppFrequencyMultiplier*1, SX1276_LoRa_PA_CONFIG_OP_POWER_dBm_17, CommParam);
//	}
//
//	if( (NUMBER_OF_LORA_NODES >=3) && ((AvailableLoRaNodes>>2) && 0b00000001) )
//	{
//		Status = SX1276_Multi_Transmitter_SetConfiguration(test2, buffLoRa, PacketSize_bytes, LoRaFrequnecy_KHz+HoppFrequencyMultiplier*2, SX1276_LoRa_PA_CONFIG_OP_POWER_dBm_17, CommParam);
//	}
//
//	if( (NUMBER_OF_LORA_NODES >=4) && ((AvailableLoRaNodes>>3) && 0b00000001) )
//	{
//		Status = SX1276_Multi_Transmitter_SetConfiguration(test3, buffLoRa, PacketSize_bytes, LoRaFrequnecy_KHz+HoppFrequencyMultiplier*3, SX1276_LoRa_PA_CONFIG_OP_POWER_dBm_17, CommParam);
//	}
//
//	if( (NUMBER_OF_LORA_NODES >=5) && ((AvailableLoRaNodes>>4) && 0b00000001) )
//	{
//		Status = SX1276_Multi_Transmitter_SetConfiguration(test4, buffLoRa, PacketSize_bytes, LoRaFrequnecy_KHz+HoppFrequencyMultiplier*4, SX1276_LoRa_PA_CONFIG_OP_POWER_dBm_17, CommParam);
//	}
//
//	/***************************************************************************************************
//	 * Transmit
//	 *	-	Set OP mode for all Nodes
//	 *	-	Put MCU to STOP2 mode for ToA time
//	 *	-	Clear TxDone IRQ flag for all Nodes
//	 *	-	Set all Nodes to sleep
//	 ***************************************************************************************************/
//	if( (NUMBER_OF_LORA_NODES >=1) && (AvailableLoRaNodes && 0b00000001) )
//	{
//		Status = SX1276_SetOperationMode(test, SX1276_LoRa_REG_OP_MODE_TX);
//	}
//
//	if( (NUMBER_OF_LORA_NODES >=2) && ((AvailableLoRaNodes>>1) && 0b00000001) )
//	{
//		Status = SX1276_SetOperationMode(test1, SX1276_LoRa_REG_OP_MODE_TX);
//	}
//
//	if( (NUMBER_OF_LORA_NODES >=3) && ((AvailableLoRaNodes>>2) && 0b00000001) )
//	{
//		Status = SX1276_SetOperationMode(test2, SX1276_LoRa_REG_OP_MODE_TX);
//	}
//
//	if( (NUMBER_OF_LORA_NODES >=4) && ((AvailableLoRaNodes>>3) && 0b00000001) )
//	{
//		Status = SX1276_SetOperationMode(test3, SX1276_LoRa_REG_OP_MODE_TX);;
//	}
//
//	if( (NUMBER_OF_LORA_NODES >=5) && ((AvailableLoRaNodes>>4) && 0b00000001) )
//	{
//		Status = SX1276_SetOperationMode(test4, SX1276_LoRa_REG_OP_MODE_TX);
//	}
//
//	MCU_STOP_Delay_ms(ToA_Delay_ms, &hrtc);
//
//	if( (NUMBER_OF_LORA_NODES >=1) && (AvailableLoRaNodes && 0b00000001) )
//	{
//		Status = SX1276_ClearIRQFlags(test, TxDone);
//		Status = SX1276_SetOperationMode(test, SX1276_LoRa_REG_OP_MODE_SLEEP);
//	}
//
//	if( (NUMBER_OF_LORA_NODES >=2) && ((AvailableLoRaNodes>>1) && 0b00000001) )
//	{
//		Status = SX1276_ClearIRQFlags(test1, TxDone);
//		Status = SX1276_SetOperationMode(test1, SX1276_LoRa_REG_OP_MODE_SLEEP);
//	}
//
//	if( (NUMBER_OF_LORA_NODES >=3) && ((AvailableLoRaNodes>>2) && 0b00000001) )
//	{
//		Status = SX1276_ClearIRQFlags(test2, TxDone);
//		Status = SX1276_SetOperationMode(test2, SX1276_LoRa_REG_OP_MODE_SLEEP);
//	}
//
//	if( (NUMBER_OF_LORA_NODES >=4) && ((AvailableLoRaNodes>>3) && 0b00000001) )
//	{
//		Status = SX1276_ClearIRQFlags(test3, TxDone);
//		Status = SX1276_SetOperationMode(test3, SX1276_LoRa_REG_OP_MODE_SLEEP);
//	}
//
//	if( (NUMBER_OF_LORA_NODES >=5) && ((AvailableLoRaNodes>>4) && 0b00000001) )
//	{
//		Status = SX1276_ClearIRQFlags(test4, TxDone);
//		Status = SX1276_SetOperationMode(test4, SX1276_LoRa_REG_OP_MODE_SLEEP);
//	}
//
//	/**************************************************
//	 * Wait for ReceivePropDelayTime
//	 **************************************************/
//	if(ReceivePropDelayTimeTotal!=0)
//	{
//		HAL_Delay(ReceivePropDelayTimeTotal);
//	}
//
//	//Hopp-------------------------------------------------------------------------------
//	/**************************************************
//	 * Wait for RxConfigTime
//	 **************************************************/
//	HAL_Delay(RxConfigTimeTotal * NUMBER_OF_LORA_NODES);
//
//
//	LoRaFrequnecy_KHz = 907500;
//
//	if( (NUMBER_OF_LORA_NODES >=1) && (AvailableLoRaNodes && 0b00000001) )
//	{
//		Status = SX1276_Multi_Transmitter_SetConfiguration(test, buffLoRa, PacketSize_bytes, LoRaFrequnecy_KHz+HoppFrequencyMultiplier*0, SX1276_LoRa_PA_CONFIG_OP_POWER_dBm_17, CommParam);
//	}
//
//	if( (NUMBER_OF_LORA_NODES >=2) && ((AvailableLoRaNodes>>1) && 0b00000001) )
//	{
//		Status = SX1276_Multi_Transmitter_SetConfiguration(test1, buffLoRa, PacketSize_bytes, LoRaFrequnecy_KHz+HoppFrequencyMultiplier*1, SX1276_LoRa_PA_CONFIG_OP_POWER_dBm_17, CommParam);
//	}
//
//	if( (NUMBER_OF_LORA_NODES >=3) && ((AvailableLoRaNodes>>2) && 0b00000001) )
//	{
//		Status = SX1276_Multi_Transmitter_SetConfiguration(test2, buffLoRa, PacketSize_bytes, LoRaFrequnecy_KHz+HoppFrequencyMultiplier*2, SX1276_LoRa_PA_CONFIG_OP_POWER_dBm_17, CommParam);
//	}
//
//	if( (NUMBER_OF_LORA_NODES >=4) && ((AvailableLoRaNodes>>3) && 0b00000001) )
//	{
//		Status = SX1276_Multi_Transmitter_SetConfiguration(test3, buffLoRa, PacketSize_bytes, LoRaFrequnecy_KHz+HoppFrequencyMultiplier*3, SX1276_LoRa_PA_CONFIG_OP_POWER_dBm_17, CommParam);
//	}
//
//	if( (NUMBER_OF_LORA_NODES >=5) && ((AvailableLoRaNodes>>4) && 0b00000001) )
//	{
//		Status = SX1276_Multi_Transmitter_SetConfiguration(test4, buffLoRa, PacketSize_bytes, LoRaFrequnecy_KHz+HoppFrequencyMultiplier*4, SX1276_LoRa_PA_CONFIG_OP_POWER_dBm_17, CommParam);
//	}
//
//	/***************************************************************************************************
//	 * Transmit
//	 *	-	Set OP mode for all Nodes
//	 *	-	Put MCU to STOP2 mode for ToA time
//	 *	-	Clear TxDone IRQ flag for all Nodes
//	 *	-	Set all Nodes to sleep
//	 ***************************************************************************************************/
//	if( (NUMBER_OF_LORA_NODES >=1) && (AvailableLoRaNodes && 0b00000001) )
//	{
//		Status = SX1276_SetOperationMode(test, SX1276_LoRa_REG_OP_MODE_TX);
//	}
//
//	if( (NUMBER_OF_LORA_NODES >=2) && ((AvailableLoRaNodes>>1) && 0b00000001) )
//	{
//		Status = SX1276_SetOperationMode(test1, SX1276_LoRa_REG_OP_MODE_TX);
//	}
//
//	if( (NUMBER_OF_LORA_NODES >=3) && ((AvailableLoRaNodes>>2) && 0b00000001) )
//	{
//		Status = SX1276_SetOperationMode(test2, SX1276_LoRa_REG_OP_MODE_TX);
//	}
//
//	if( (NUMBER_OF_LORA_NODES >=4) && ((AvailableLoRaNodes>>3) && 0b00000001) )
//	{
//		Status = SX1276_SetOperationMode(test3, SX1276_LoRa_REG_OP_MODE_TX);;
//	}
//
//	if( (NUMBER_OF_LORA_NODES >=5) && ((AvailableLoRaNodes>>4) && 0b00000001) )
//	{
//		Status = SX1276_SetOperationMode(test4, SX1276_LoRa_REG_OP_MODE_TX);
//	}
//
//	MCU_STOP_Delay_ms(ToA_Delay_ms, &hrtc);
//
//	if( (NUMBER_OF_LORA_NODES >=1) && (AvailableLoRaNodes && 0b00000001) )
//	{
//		Status = SX1276_ClearIRQFlags(test, TxDone);
//		Status = SX1276_SetOperationMode(test, SX1276_LoRa_REG_OP_MODE_SLEEP);
//	}
//
//	if( (NUMBER_OF_LORA_NODES >=2) && ((AvailableLoRaNodes>>1) && 0b00000001) )
//	{
//		Status = SX1276_ClearIRQFlags(test1, TxDone);
//		Status = SX1276_SetOperationMode(test1, SX1276_LoRa_REG_OP_MODE_SLEEP);
//	}
//
//	if( (NUMBER_OF_LORA_NODES >=3) && ((AvailableLoRaNodes>>2) && 0b00000001) )
//	{
//		Status = SX1276_ClearIRQFlags(test2, TxDone);
//		Status = SX1276_SetOperationMode(test2, SX1276_LoRa_REG_OP_MODE_SLEEP);
//	}
//
//	if( (NUMBER_OF_LORA_NODES >=4) && ((AvailableLoRaNodes>>3) && 0b00000001) )
//	{
//		Status = SX1276_ClearIRQFlags(test3, TxDone);
//		Status = SX1276_SetOperationMode(test3, SX1276_LoRa_REG_OP_MODE_SLEEP);
//	}
//
//	if( (NUMBER_OF_LORA_NODES >=5) && ((AvailableLoRaNodes>>4) && 0b00000001) )
//	{
//		Status = SX1276_ClearIRQFlags(test4, TxDone);
//		Status = SX1276_SetOperationMode(test4, SX1276_LoRa_REG_OP_MODE_SLEEP);
//	}
//
//	/**************************************************
//	 * Wait for ReceivePropDelayTime
//	 **************************************************/
//	if(ReceivePropDelayTimeTotal!=0)
//	{
//		HAL_Delay(ReceivePropDelayTimeTotal);
//	}

	/* USER CODE END 2 */

	/* Infinite loop */
	while (1)
	{

	}
}

void SystemClock_Config(void)
{
	RCC_OscInitTypeDef RCC_OscInitStruct = {0};
	RCC_ClkInitTypeDef RCC_ClkInitStruct = {0};

	/** Configure the main internal regulator output voltage
	 */
	if (HAL_PWREx_ControlVoltageScaling(PWR_REGULATOR_VOLTAGE_SCALE1) != HAL_OK)
	{
		Error_Handler();
	}

	/** Initializes the RCC Oscillators according to the specified parameters
	 * in the RCC_OscInitTypeDef structure.
	 */
	RCC_OscInitStruct.OscillatorType = RCC_OSCILLATORTYPE_HSI|RCC_OSCILLATORTYPE_LSI;
	RCC_OscInitStruct.HSIState = RCC_HSI_ON;
	RCC_OscInitStruct.HSICalibrationValue = RCC_HSICALIBRATION_DEFAULT;
	RCC_OscInitStruct.LSIState = RCC_LSI_ON;
	RCC_OscInitStruct.PLL.PLLState = RCC_PLL_ON;
	RCC_OscInitStruct.PLL.PLLSource = RCC_PLLSOURCE_HSI;
	RCC_OscInitStruct.PLL.PLLM = 1;
	RCC_OscInitStruct.PLL.PLLN = 10;
	RCC_OscInitStruct.PLL.PLLP = RCC_PLLP_DIV7;
	RCC_OscInitStruct.PLL.PLLQ = RCC_PLLQ_DIV2;
	RCC_OscInitStruct.PLL.PLLR = RCC_PLLR_DIV2;
	if (HAL_RCC_OscConfig(&RCC_OscInitStruct) != HAL_OK)
	{
		Error_Handler();
	}

	/** Initializes the CPU, AHB and APB buses clocks
	 */
	RCC_ClkInitStruct.ClockType = RCC_CLOCKTYPE_HCLK|RCC_CLOCKTYPE_SYSCLK
			|RCC_CLOCKTYPE_PCLK1|RCC_CLOCKTYPE_PCLK2;
	RCC_ClkInitStruct.SYSCLKSource = RCC_SYSCLKSOURCE_PLLCLK;
	RCC_ClkInitStruct.AHBCLKDivider = RCC_SYSCLK_DIV1;
	RCC_ClkInitStruct.APB1CLKDivider = RCC_HCLK_DIV1;
	RCC_ClkInitStruct.APB2CLKDivider = RCC_HCLK_DIV1;

	if (HAL_RCC_ClockConfig(&RCC_ClkInitStruct, FLASH_LATENCY_4) != HAL_OK)
	{
		Error_Handler();
	}
}

static void MX_RTC_Init(void)
{

	/** Initialize RTC Only
	 */
	hrtc.Instance = RTC;
	hrtc.Init.HourFormat = RTC_HOURFORMAT_24;
	hrtc.Init.AsynchPrediv = 127;
	hrtc.Init.SynchPrediv = 255;
	hrtc.Init.OutPut = RTC_OUTPUT_DISABLE;
	hrtc.Init.OutPutRemap = RTC_OUTPUT_REMAP_NONE;
	hrtc.Init.OutPutPolarity = RTC_OUTPUT_POLARITY_HIGH;
	hrtc.Init.OutPutType = RTC_OUTPUT_TYPE_OPENDRAIN;
	if (HAL_RTC_Init(&hrtc) != HAL_OK)
	{
		Error_Handler();
	}

}

static void MX_SPI2_Init(void)
{

	/* SPI2 parameter configuration*/
	hspi2.Instance = SPI2;
	hspi2.Init.Mode = SPI_MODE_MASTER;
	hspi2.Init.Direction = SPI_DIRECTION_2LINES;
	hspi2.Init.DataSize = SPI_DATASIZE_8BIT;
	hspi2.Init.CLKPolarity = SPI_POLARITY_LOW;
	hspi2.Init.CLKPhase = SPI_PHASE_1EDGE;
	hspi2.Init.NSS = SPI_NSS_SOFT;
	hspi2.Init.BaudRatePrescaler = SPI_BAUDRATEPRESCALER_16;
	hspi2.Init.FirstBit = SPI_FIRSTBIT_MSB;
	hspi2.Init.TIMode = SPI_TIMODE_DISABLE;
	hspi2.Init.CRCCalculation = SPI_CRCCALCULATION_DISABLE;
	hspi2.Init.CRCPolynomial = 7;
	hspi2.Init.CRCLength = SPI_CRC_LENGTH_DATASIZE;
	hspi2.Init.NSSPMode = SPI_NSS_PULSE_ENABLE;
	if (HAL_SPI_Init(&hspi2) != HAL_OK)
	{
		Error_Handler();
	}

}

static void MX_TIM16_Init(void)
{

	htim16.Instance = TIM16;
	htim16.Init.Prescaler = 4000;
	htim16.Init.CounterMode = TIM_COUNTERMODE_UP;
	htim16.Init.Period = 65535;
	htim16.Init.ClockDivision = TIM_CLOCKDIVISION_DIV1;
	htim16.Init.RepetitionCounter = 0;
	htim16.Init.AutoReloadPreload = TIM_AUTORELOAD_PRELOAD_DISABLE;
	if (HAL_TIM_Base_Init(&htim16) != HAL_OK)
	{
		Error_Handler();
	}
	/* USER CODE BEGIN TIM16_Init 2 */
	TIM16_PRESCALR = htim16.Init.Prescaler;
	/* USER CODE END TIM16_Init 2 */

}

static void MX_USART2_UART_Init(void)
{

	huart2.Instance = USART2;
	huart2.Init.BaudRate = 115200;
	huart2.Init.WordLength = UART_WORDLENGTH_8B;
	huart2.Init.StopBits = UART_STOPBITS_1;
	huart2.Init.Parity = UART_PARITY_NONE;
	huart2.Init.Mode = UART_MODE_TX_RX;
	huart2.Init.HwFlowCtl = UART_HWCONTROL_NONE;
	huart2.Init.OverSampling = UART_OVERSAMPLING_16;
	huart2.Init.OneBitSampling = UART_ONE_BIT_SAMPLE_DISABLE;
	huart2.AdvancedInit.AdvFeatureInit = UART_ADVFEATURE_NO_INIT;
	if (HAL_UART_Init(&huart2) != HAL_OK)
	{
		Error_Handler();
	}

}

static void MX_GPIO_Init(void)
{
	GPIO_InitTypeDef GPIO_InitStruct = {0};

	/* GPIO Ports Clock Enable */
	__HAL_RCC_GPIOC_CLK_ENABLE();
	__HAL_RCC_GPIOH_CLK_ENABLE();
	__HAL_RCC_GPIOA_CLK_ENABLE();
	__HAL_RCC_GPIOB_CLK_ENABLE();

	/*Configure GPIO pin Output Level */
	HAL_GPIO_WritePin(GPIOC, Temp_Pin_Pin|SPI2_SX1276_NSS_S4_Pin, GPIO_PIN_RESET);

	/*Configure GPIO pin Output Level */
	HAL_GPIO_WritePin(GPIOA, SPI2_SX1276_NSS_S0_Pin|SX1276_NRESET_Pin, GPIO_PIN_SET);

	/*Configure GPIO pin Output Level */
	HAL_GPIO_WritePin(GPIOA, SPI2_SX1276_NSS_S1_Pin|SPI2_SX1276_NSS_S2_Pin, GPIO_PIN_RESET);

	/*Configure GPIO pin Output Level */
	HAL_GPIO_WritePin(SPI2_SX1276_NSS_S3_GPIO_Port, SPI2_SX1276_NSS_S3_Pin, GPIO_PIN_RESET);

	/*Configure GPIO pin : B1_Pin */
	GPIO_InitStruct.Pin = B1_Pin;
	GPIO_InitStruct.Mode = GPIO_MODE_IT_FALLING;
	GPIO_InitStruct.Pull = GPIO_NOPULL;
	HAL_GPIO_Init(B1_GPIO_Port, &GPIO_InitStruct);

	/*Configure GPIO pins : Temp_Pin_Pin SPI2_SX1276_NSS_S4_Pin */
	GPIO_InitStruct.Pin = Temp_Pin_Pin|SPI2_SX1276_NSS_S4_Pin;
	GPIO_InitStruct.Mode = GPIO_MODE_OUTPUT_PP;
	GPIO_InitStruct.Pull = GPIO_NOPULL;
	GPIO_InitStruct.Speed = GPIO_SPEED_FREQ_LOW;
	HAL_GPIO_Init(GPIOC, &GPIO_InitStruct);

	/*Configure GPIO pins : SPI2_SX1276_NSS_S0_Pin SPI2_SX1276_NSS_S1_Pin SPI2_SX1276_NSS_S2_Pin */
	GPIO_InitStruct.Pin = SPI2_SX1276_NSS_S0_Pin|SPI2_SX1276_NSS_S1_Pin|SPI2_SX1276_NSS_S2_Pin;
	GPIO_InitStruct.Mode = GPIO_MODE_OUTPUT_PP;
	GPIO_InitStruct.Pull = GPIO_NOPULL;
	GPIO_InitStruct.Speed = GPIO_SPEED_FREQ_LOW;
	HAL_GPIO_Init(GPIOA, &GPIO_InitStruct);

	/*Configure GPIO pin : SPI2_SX1276_NSS_S3_Pin */
	GPIO_InitStruct.Pin = SPI2_SX1276_NSS_S3_Pin;
	GPIO_InitStruct.Mode = GPIO_MODE_OUTPUT_PP;
	GPIO_InitStruct.Pull = GPIO_NOPULL;
	GPIO_InitStruct.Speed = GPIO_SPEED_FREQ_LOW;
	HAL_GPIO_Init(SPI2_SX1276_NSS_S3_GPIO_Port, &GPIO_InitStruct);

	/*Configure GPIO pin : SX1276_NRESET_Pin */
	GPIO_InitStruct.Pin = SX1276_NRESET_Pin;
	GPIO_InitStruct.Mode = GPIO_MODE_OUTPUT_OD;
	GPIO_InitStruct.Pull = GPIO_NOPULL;
	GPIO_InitStruct.Speed = GPIO_SPEED_FREQ_LOW;
	HAL_GPIO_Init(SX1276_NRESET_GPIO_Port, &GPIO_InitStruct);

	/* EXTI interrupt init*/
	HAL_NVIC_SetPriority(EXTI15_10_IRQn, 0, 0);
	HAL_NVIC_EnableIRQ(EXTI15_10_IRQn);

}

void Error_Handler(void)
{
	__disable_irq();
	while (1)
	{
	}
}
